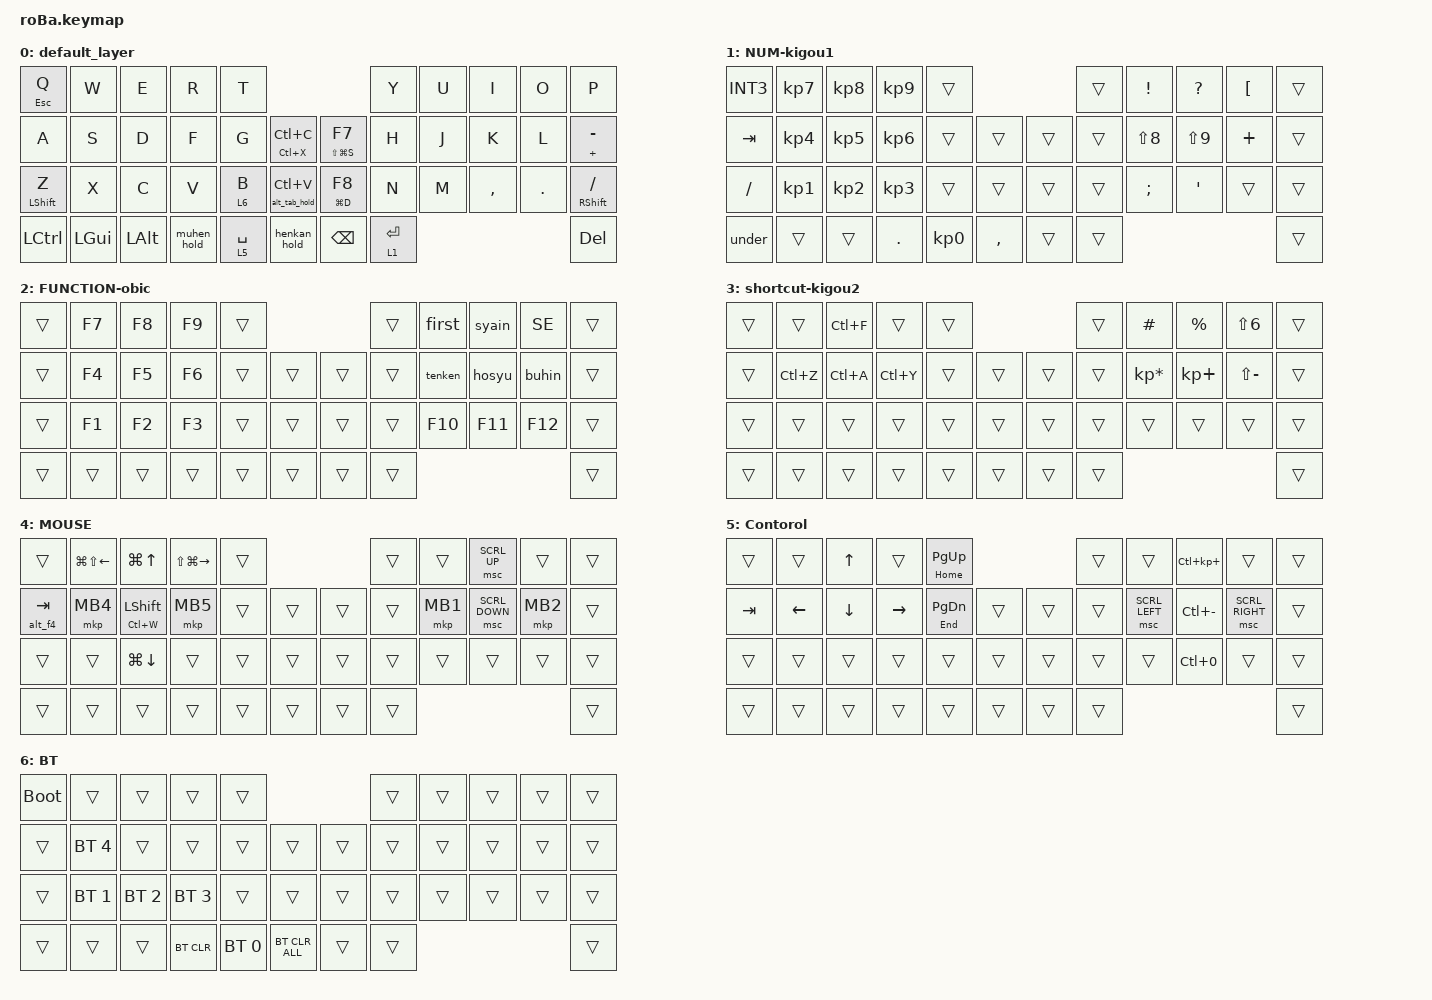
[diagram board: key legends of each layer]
#include <input/processors.dtsi>
#include <behaviors.dtsi>
#include <dt-bindings/zmk/bt.h>
#include <dt-bindings/zmk/keys.h>
#include <dt-bindings/zmk/pointing.h>

&mt {
    flavor = "balanced";
    quick-tap-ms = <0>;
};

&trackball {
    scroll-layers = <5>;

    // arrows {
    //     layers = <3>;
    //     bindings =
    //         <&kp RIGHT_ARROW>,
    //         <&kp LEFT_ARROW>,
    //         <&kp UP_ARROW>,
    //         <&kp DOWN_ARROW>;
    //     tick = <10>;
    //     wait-ms = <5>;
    //     tap-ms = <5>;
    // };
};

/ {
    combos {
        compatible = "zmk,combos";

        mou {
            bindings = <&none>;
            key-positions = <11 12 13 2 24 18 19 20 7 10 1 3>;
        };
    };

    macros {
        to_layer_0: to_layer_0 {
            compatible = "zmk,behavior-macro-one-param";
            #binding-cells = <1>;
            bindings = <&to 0 &macro_param_1to1 &kp MACRO_PLACEHOLDER>;
            label = "TO_LAYER_0";
        };

        muhen_to0: muhen_to0 {
            compatible = "zmk,behavior-macro";
            #binding-cells = <0>;
            bindings = <&kp LS(INTERNATIONAL_5) &kp LS(INTERNATIONAL_5) &to 0>;
            label = "MUHEN_TO0";
        };

        kana_to0: kana_to0 {
            compatible = "zmk,behavior-macro";
            #binding-cells = <0>;
            bindings = <&kp INTERNATIONAL_2 &to 0>;
            label = "KANA_TO0";
        };

        alt_tab_hold: alt_tab_hold {
            compatible = "zmk,behavior-macro";
            #binding-cells = <0>;
            bindings =
                <&macro_press>,
                <&kp LEFT_ALT>,
                <&macro_tap>,
                <&kp TAB>,
                <&macro_pause_for_release>,
                <&macro_release>,
                <&kp LEFT_ALT>;

            label = "ALT_TAB_HOLD";
        };

        ctrl_w: ctrl_w {
            compatible = "zmk,behavior-macro";
            #binding-cells = <0>;
            bindings =
                <&macro_press>,
                <&kp LCTRL>,
                <&macro_tap>,
                <&kp W>,
                <&macro_pause_for_release>,
                <&macro_release>,
                <&kp LCTRL>;

            label = "CTRL_W";
        };

        hosyu: hosyu {
            compatible = "zmk,behavior-macro";
            #binding-cells = <0>;
            bindings = <&none &kp LS(X) &kp N9 &kp N0 &kp N0 &kp N0 &kp N0 &kp N0 &kp N7>;
            label = "HOSYU";
        };

        tenken: tenken {
            compatible = "zmk,behavior-macro";
            #binding-cells = <0>;
            bindings = <&none &kp LS(X) &kp N9 &kp N0 &kp N0 &kp N0 &kp N0 &kp N0 &kp N8>;
            label = "TENKEN";
        };

        buhin: buhin {
            compatible = "zmk,behavior-macro";
            #binding-cells = <0>;
            bindings = <&none &kp NUMBER_0 &kp N0 &kp N0 &kp N0 &kp N0 &kp N0 &kp N0 &kp N0 &kp N0 &kp N0 &kp N0>;
            label = "BUHIN";
        };

        syain: syain {
            compatible = "zmk,behavior-macro";
            #binding-cells = <0>;
            bindings = <&none &kp N1 &kp N2 &kp N7>;
            label = "SYAIN";
        };

        SE: SE {
            compatible = "zmk,behavior-macro";
            #binding-cells = <0>;
            bindings = <&none &kp LS(S) &kp LS(E)>;
            label = "SE";
        };

        first: first {
            compatible = "zmk,behavior-macro";
            #binding-cells = <0>;
            bindings = <&none &kp N2 &kp N8 &kp N0 &kp N1 &kp N5 &kp N0 &kp N0>;
            label = "FIRST";
        };

        double_muhen: double_muhen {
            compatible = "zmk,behavior-macro";
            #binding-cells = <0>;
            bindings = <&kp LS(INTERNATIONAL_5) &kp LS(INTERNATIONAL_5)>;
            label = "DOUBLE_MUHEN";
        };

        muhen_hold: muhen_hold {
            compatible = "zmk,behavior-macro";
            #binding-cells = <0>;
            bindings =
                <&kp LS(INTERNATIONAL_5) &kp LS(INTERNATIONAL_5) &to 2>,
                <&macro_pause_for_release>,
                <&to 0>;

            label = "MUHEN_HOLD";
        };

        henkan_hold: henkan_hold {
            compatible = "zmk,behavior-macro";
            #binding-cells = <0>;
            bindings =
                <&kp INTERNATIONAL_2 &to 3>,
                <&macro_pause_for_release>,
                <&to 0>;

            label = "HENKAN_HOLD";
        };

        under: under {
            compatible = "zmk,behavior-macro";
            #binding-cells = <0>;
            bindings =
                <&macro_press>,
                <&kp LEFT_ALT>,
                <&macro_tap>,
                <&kp KP_NUMBER_9 &kp KP_NUMBER_5>,
                <&macro_pause_for_release>,
                <&macro_release>,
                <&kp LEFT_ALT>;

            label = "UNDER";
        };

        kanma: kanma {
            compatible = "zmk,behavior-macro";
            #binding-cells = <0>;
            bindings =
                <&macro_press>,
                <&kp LEFT_ALT>,
                <&macro_tap>,
                <&kp KP_NUMBER_4 &kp KP_NUMBER_4>,
                <&macro_pause_for_release>,
                <&macro_release>,
                <&kp LEFT_ALT>;

            label = "KANMA";
        };

        dot: dot {
            compatible = "zmk,behavior-macro";
            #binding-cells = <0>;
            bindings =
                <&macro_press>,
                <&kp LEFT_ALT>,
                <&macro_tap>,
                <&kp KP_NUMBER_4 &kp KP_NUMBER_6>,
                <&macro_pause_for_release>,
                <&macro_release>,
                <&kp LEFT_ALT>;

            label = "DOT";
        };

        slash: slash {
            compatible = "zmk,behavior-macro";
            #binding-cells = <0>;
            bindings =
                <&macro_press>,
                <&kp LEFT_ALT>,
                <&macro_tap>,
                <&kp KP_NUMBER_4 &kp KP_NUMBER_7>,
                <&macro_pause_for_release>,
                <&macro_release>,
                <&kp LEFT_ALT>;

            label = "SLASH";
        };

        enmark: enmark {
            compatible = "zmk,behavior-macro";
            #binding-cells = <0>;
            bindings =
                <&macro_press>,
                <&kp LEFT_ALT>,
                <&macro_tap>,
                <&kp KP_NUMBER_9 &kp KP_NUMBER_2>,
                <&macro_pause_for_release>,
                <&macro_release>,
                <&kp LEFT_ALT>;

            label = "ENMARK";
        };

        hidarikakko: hidarikakko {
            compatible = "zmk,behavior-macro";
            #binding-cells = <0>;
            bindings =
                <&macro_press>,
                <&kp LEFT_ALT>,
                <&macro_tap>,
                <&kp KP_NUMBER_1 &kp KP_NUMBER_2 &kp KP_NUMBER_3 &kp KP_NUMBER_0 &kp KP_NUMBER_4>,
                <&macro_pause_for_release>,
                <&macro_release>,
                <&kp LEFT_ALT>;

            label = "HIDARIKAKKO";
        };

        migikakko: migikakko {
            compatible = "zmk,behavior-macro";
            #binding-cells = <0>;
            bindings =
                <&macro_press>,
                <&kp LEFT_ALT>,
                <&macro_tap>,
                <&kp KP_NUMBER_1 &kp KP_NUMBER_2 &kp KP_NUMBER_3 &kp KP_NUMBER_0 &kp KP_NUMBER_5>,
                <&macro_pause_for_release>,
                <&macro_release>,
                <&kp LEFT_ALT>;

            label = "MIGIKAKKO";
        };

        hidarikaiwa: hidarikaiwa {
            compatible = "zmk,behavior-macro";
            #binding-cells = <0>;
            bindings =
                <&macro_press>,
                <&kp LEFT_ALT>,
                <&macro_tap>,
                <&kp KP_NUMBER_1 &kp KP_NUMBER_2 &kp KP_NUMBER_3 &kp KP_NUMBER_0 &kp KP_NUMBER_0>,
                <&macro_pause_for_release>,
                <&macro_release>,
                <&kp LEFT_ALT>;

            label = "HIDARIKAIWA";
        };

        migikaiwa: migikaiwa {
            compatible = "zmk,behavior-macro";
            #binding-cells = <0>;
            bindings =
                <&macro_press>,
                <&kp LEFT_ALT>,
                <&macro_tap>,
                <&kp KP_NUMBER_1 &kp KP_NUMBER_2 &kp KP_NUMBER_3 &kp KP_NUMBER_0 &kp KP_NUMBER_1>,
                <&macro_pause_for_release>,
                <&macro_release>,
                <&kp LEFT_ALT>;

            label = "MIGIKAIWA";
        };

        alt_f4: alt_f4 {
            compatible = "zmk,behavior-macro";
            #binding-cells = <0>;
            bindings =
                <&macro_press>,
                <&kp LALT>,
                <&macro_tap>,
                <&kp F4>,
                <&macro_pause_for_release>,
                <&macro_release>,
                <&kp LALT>;

            label = "ALT_F4";
        };
    };

    behaviors {
        lt_to_layer_0: lt_to_layer_0 {
            compatible = "zmk,behavior-hold-tap";
            label = "LAYER_TAP_TO_0";
            bindings = <&mo>, <&to_layer_0>;

            #binding-cells = <2>;
            tapping-term-ms = <200>;
        };

        ht_ctrl_w: ht_ctrl_w {
            compatible = "zmk,behavior-hold-tap";
            label = "HT_CTRL_W";
            bindings = <&ctrl_w>, <&kp>;

            #binding-cells = <2>;
            tapping-term-ms = <200>;
            flavor = "tap-preferred";
        };

        ht_alt_tab: ht_alt_tab {
            compatible = "zmk,behavior-hold-tap";
            label = "HT_ALT_TAB";
            bindings = <&alt_tab_hold>, <&kp>;

            #binding-cells = <2>;
            tapping-term-ms = <200>;
            flavor = "tap-preferred";
        };

        ht_muhen: ht_muhen {
            compatible = "zmk,behavior-hold-tap";
            label = "HT_MUHEN";
            bindings = <&mo>, <&double_muhen>;

            #binding-cells = <2>;
            tapping-term-ms = <200>;
            flavor = "tap-preferred";
        };

        ht_muhen_mouse: ht_muhen_mouse {
            compatible = "zmk,behavior-hold-tap";
            label = "HT_MUHEN_MOUSE";
            bindings = <&muhen_hold>, <&muhen_to0>;

            #binding-cells = <2>;
            tapping-term-ms = <200>;
            flavor = "tap-preferred";
        };

        ht_henkan_mouse: ht_henkan_mouse {
            compatible = "zmk,behavior-hold-tap";
            label = "HT_HENKAN_MOUSE";
            bindings = <&henkan_hold>, <&kana_to0>;

            #binding-cells = <2>;
            tapping-term-ms = <200>;
            flavor = "tap-preferred";
        };

        ht_alt_f4: ht_alt_f4 {
            compatible = "zmk,behavior-hold-tap";
            label = "HT_ALT_F4";
            bindings = <&alt_f4>, <&kp>;

            #binding-cells = <2>;
            tapping-term-ms = <200>;
            flavor = "tap-preferred";
        };
    };

    keymap {
        compatible = "zmk,keymap";

        default_layer {
            bindings = <
&mt ESC Q     &kp W         &kp E         &kp R        &kp T                                                   &kp Y        &kp U  &kp I      &kp O    &kp P
&kp A         &kp S         &kp D         &kp F        &kp G        &mt LC(X) LC(C)          &mt LS(LG(S)) F7  &kp H        &kp J  &kp K      &kp L    &mt PLUS MINUS
&mt LSHIFT Z  &kp X         &kp C         &kp V        &lt 6 B      &ht_alt_tab 0 LC(V)      &mt LG(D) F8      &kp N        &kp M  &kp COMMA  &kp DOT  &mt RIGHT_SHIFT SLASH
&kp LCTRL     &kp LEFT_GUI  &kp LEFT_ALT  &muhen_hold  &lt 5 SPACE  &henkan_hold             &kp BACKSPACE     &lt 1 ENTER                             &kp DEL
            >;
        };

        NUM-kigou1 {
            bindings = <
&kp INT3   &kp KP_NUMBER_7  &kp KP_NUMBER_8  &kp KP_NUMBER_9  &trans                            &trans  &kp EXCLAMATION  &kp QUESTION  &kp LEFT_BRACKET  &trans
&kp TAB    &kp KP_NUMBER_4  &kp KP_NUMBER_5  &kp KP_NUMBER_6  &trans     &trans         &trans  &trans  &kp LS(N8)       &kp LS(N9)    &kp PLUS          &trans
&kp SLASH  &kp KP_NUMBER_1  &kp KP_NUMBER_2  &kp KP_NUMBER_3  &trans     &trans         &trans  &trans  &kp SEMI         &kp APOS      &trans            &trans
&under     &trans           &trans           &kp PERIOD       &kp KP_N0  &kp COMMA      &trans  &trans                                                   &trans
            >;
        };

        FUNCTION-obic {
            bindings = <
&trans  &kp F7  &kp F8  &kp F9  &trans                      &trans  &first   &syain   &SE      &trans
&trans  &kp F4  &kp F5  &kp F6  &trans  &trans      &trans  &trans  &tenken  &hosyu   &buhin   &trans
&trans  &kp F1  &kp F2  &kp F3  &trans  &trans      &trans  &trans  &kp F10  &kp F11  &kp F12  &trans
&trans  &trans  &trans  &trans  &trans  &trans      &trans  &trans                             &trans
            >;
        };

        shortcut-kigou2 {
            bindings = <
&trans  &trans     &kp LC(F)  &trans     &trans                      &trans  &kp HASH         &kp PERCENT  &kp LS(NUMBER_6)  &trans
&trans  &kp LC(Z)  &kp LC(A)  &kp LC(Y)  &trans  &trans      &trans  &trans  &kp KP_ASTERISK  &kp KP_PLUS  &kp LS(MINUS)     &trans
&trans  &trans     &trans     &trans     &trans  &trans      &trans  &trans  &trans           &trans       &trans            &trans
&trans  &trans     &trans     &trans     &trans  &trans      &trans  &trans                                                  &trans
            >;
        };

        MOUSE {
            bindings = <
&trans            &kp LG(LS(LEFT_ARROW))  &kp LG(UP_ARROW)      &kp LS(LG(RIGHT_ARROW))  &trans                      &trans  &trans    &msc SCRL_UP    &trans    &trans
&ht_alt_f4 0 TAB  &mkp MB4                &mt LC(W) LEFT_SHIFT  &mkp MB5                 &trans  &trans      &trans  &trans  &mkp MB1  &msc SCRL_DOWN  &mkp MB2  &trans
&trans            &trans                  &kp LG(DOWN_ARROW)    &trans                   &trans  &trans      &trans  &trans  &trans    &trans          &trans    &trans
&trans            &trans                  &trans                &trans                   &trans  &trans      &trans  &trans                                      &trans
            >;
        };

        Contorol {
            bindings = <
&trans   &trans          &kp UP_ARROW    &trans           &mt HOME PG_UP                         &trans  &trans          &kp LC(KP_PLUS)  &trans           &trans
&kp TAB  &kp LEFT_ARROW  &kp DOWN_ARROW  &kp RIGHT_ARROW  &mt END PAGE_DOWN  &trans      &trans  &trans  &msc SCRL_LEFT  &kp LC(MINUS)    &msc SCRL_RIGHT  &trans
&trans   &trans          &trans          &trans           &trans             &trans      &trans  &trans  &trans          &kp LC(N0)       &trans           &trans
&trans   &trans          &trans          &trans           &trans             &trans      &trans  &trans                                                    &trans
            >;
        };

        BT {
            bindings = <
&bootloader  &trans        &trans        &trans        &trans                                    &trans  &trans  &trans  &trans  &trans
&trans       &bt BT_SEL 4  &trans        &trans        &trans        &trans              &trans  &trans  &trans  &trans  &trans  &trans
&trans       &bt BT_SEL 1  &bt BT_SEL 2  &bt BT_SEL 3  &trans        &trans              &trans  &trans  &trans  &trans  &trans  &trans
&trans       &trans        &trans        &bt BT_CLR    &bt BT_SEL 0  &bt BT_CLR_ALL      &trans  &trans                          &trans
            >;
        };
    };
};
